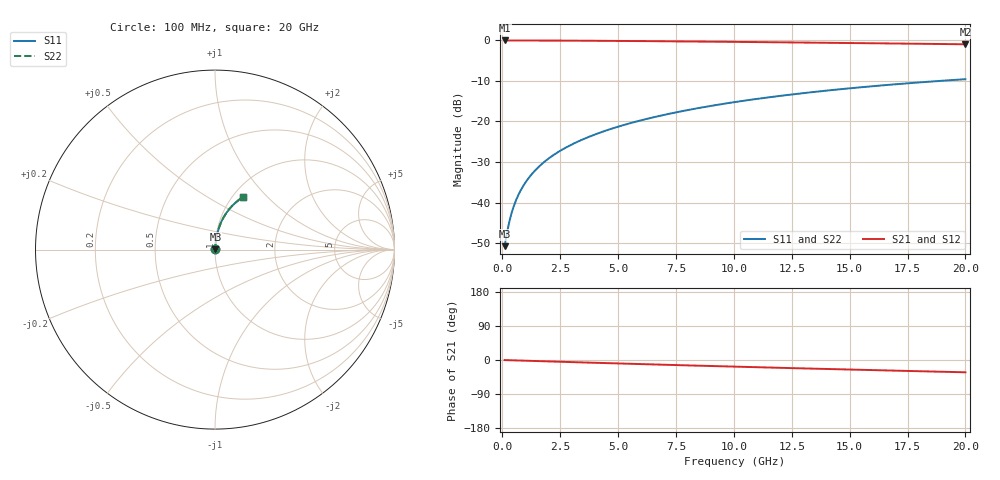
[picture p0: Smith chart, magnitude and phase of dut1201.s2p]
! Touchstone file exported from HFSS 2024.1.0
!  File:  C:/UserFiles/LocalFiles/RDL_TSV_Batchsim/temp_RDL_top_1201_1780239412.aedt
!  Generated:  10:59:57 PM May 31, 2026
!  Design:  RDL_top
!  Project:  temp_RDL_top_1201_1780239412
!  Setup:  Setup1
!  Solution:  Sweep
! Variables:
!  dtsv = 10.80580581um
!  hbump = 3um
!  htsv = 98.16um
!  ldown = 100um
!  lrdl = 456.08um
!  p = 40
!  p1 = 42.33um
!  rhole = 1um
!  t = 450um
!  tdown = 3.915915916um
!  trdl = 4.93um
!  wdown = 15.38538539um
!  wrdl = 15.36um
# GHz S MA R 50.000000
! Terminal data exported
! Port[1] = Box2_T1
! Port[2] = Box2_T2
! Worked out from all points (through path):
!   200 points, 100 MHz to 20 GHz, reference 50 ohm
!   highest |S21| = -0.02 dB at 100 MHz (marker M1); lowest = -1.0 dB at 20 GHz (marker M2)
!   group delay of S21, straight-line fit = 4.48 ps
!   lowest |S11| = -50.8 dB at 100 MHz (marker M3), VSWR 1.01, Z = 50.2 + j0.185 ohm
!   |S11| at or under -10 dB: start of sweep to 18.89 GHz
!   |S22| runs from -50.8 to -9.6 dB; largest |S21 - S12| = 3.1e-15
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0.1  0.0029 39.4  0.9978 -0.2  0.9978 -0.2  0.0029 39.4
! Gamma 0 0 0 0
! Port Impedance 50 0 50 0
0.2  0.004199 58.1  0.9977 -0.4  0.9977 -0.4  0.004199 58.1
0.3  0.005754 67.1  0.9976 -0.6  0.9976 -0.6  0.005754 67.1
0.4  0.007401 72.1  0.9974 -0.8  0.9974 -0.8  0.007401 72.1
0.5  0.009089 75.2  0.9973 -1.0  0.9973 -1.0  0.009089 75.2
0.6  0.0108 77.3  0.9972 -1.1  0.9972 -1.1  0.0108 77.3
0.8  0.01424 79.8  0.997 -1.5  0.997 -1.5  0.01424 79.8
1.1  0.01943 81.7  0.9966 -2.1  0.9966 -2.1  0.01943 81.7
1.3  0.02288 82.3  0.9963 -2.4  0.9963 -2.4  0.02288 82.3
1.5  0.02633 82.7  0.996 -2.8  0.996 -2.8  0.02633 82.7
1.8  0.0315 83.1  0.9954 -3.4  0.9954 -3.4  0.0315 83.1
2.1  0.03664 83.3  0.9948 -3.9  0.9948 -3.9  0.03664 83.3
2.7  0.0469 83.3  0.9933 -5.0  0.9933 -5.0  0.0469 83.3
3.5  0.06056 82.9  0.9907 -6.5  0.9907 -6.5  0.06056 82.9
4.2  0.07253 82.5  0.9881 -7.7  0.9881 -7.7  0.07253 82.5
5  0.08626 81.8  0.9848 -9.1  0.9848 -9.1  0.08626 81.9
6.8  0.1173 80.1  0.9763 -12.2  0.9763 -12.2  0.1174 80.1
8.4  0.1451 78.2  0.9678 -14.9  0.9678 -14.9  0.1451 78.2
10.1  0.1745 76.0  0.9582 -17.6  0.9582 -17.6  0.1745 76.0
13.4  0.2303 71.4  0.9382 -22.8  0.9382 -22.8  0.2303 71.4
16.7  0.2832 66.6  0.917 -27.7  0.917 -27.7  0.2833 66.6
20  0.3323 61.9  0.895 -32.4  0.895 -32.4  0.3324 61.9
